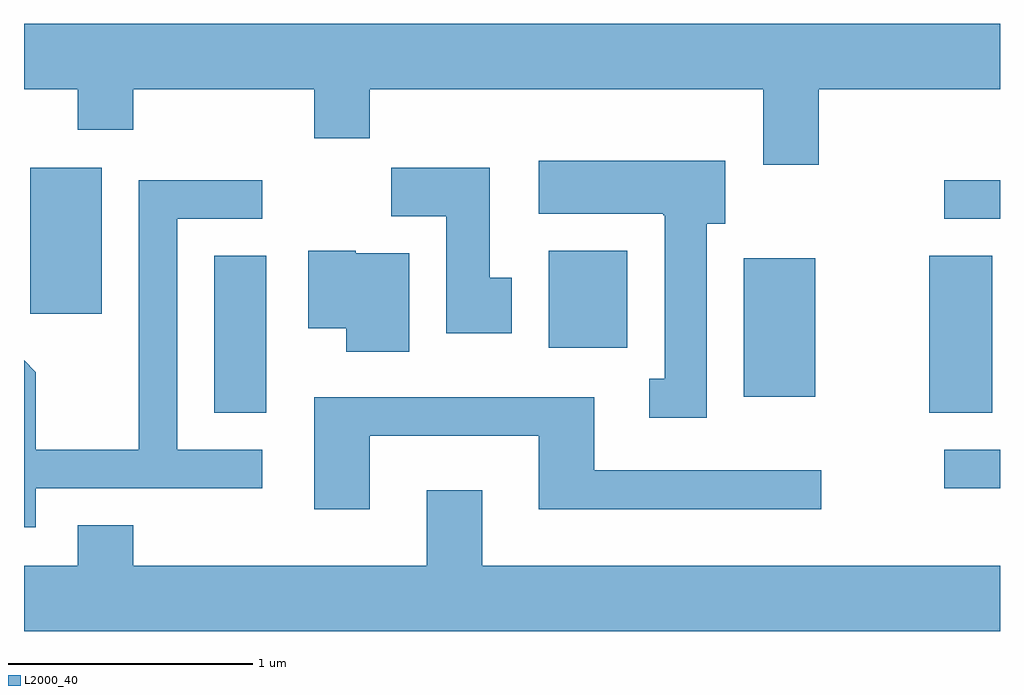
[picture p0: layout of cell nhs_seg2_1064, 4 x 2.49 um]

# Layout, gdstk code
import gdstk
lib = gdstk.Library(unit=1e-6, precision=1e-09)
def R(c, l, rs):  # rectangles x0, y0, x1, y1
    for r in rs: c.add(gdstk.rectangle(r[:2], r[2:], *l))
def P(c, l, *ps):  # polygons
    for p in ps: c.add(gdstk.Polygon(p, *l))
L2000_40 = (2000, 40)

nhs_seg2_1064 = lib.new_cell('nhs_seg2_1064')
R(nhs_seg2_1064, L2000_40, [(219.383,1066.661,219.611,1066.819), (216.391,1066.971,216.604,1067.614), (219.321,1066.971,219.579,1067.614), (218.561,1067.036,218.854,1067.604), (217.761,1067.236,218.084,1067.634), (215.636,1067.376,215.929,1067.974), (219.383,1067.766,219.611,1067.924)])
P(nhs_seg2_1064, L2000_40, [(218.869,1068.296),(219.611,1068.296),(219.611,1068.564),(215.611,1068.564),(215.611,1068.296),(215.831,1068.296),(215.831,1068.131),(216.059,1068.131),(216.059,1068.296),(216.801,1068.296),(216.801,1068.096),(217.029,1068.096),(217.029,1068.296),(218.641,1068.296),(218.641,1067.986),(218.869,1067.986)],
  [(218.409,1067.746),(218.484,1067.746),(218.484,1068.004),(217.721,1068.004),(217.721,1067.786),(218.23,1067.786),(218.23,1067.78),(218.236,1067.78),(218.236,1067.109),(218.173,1067.109),(218.173,1066.951),(218.409,1066.951)],
  [(217.609,1067.524),(217.519,1067.524),(217.519,1067.974),(217.116,1067.974),(217.116,1067.776),(217.341,1067.776),(217.341,1067.296),(217.609,1067.296)],
  [(215.659,1066.661),(216.588,1066.661),(216.588,1066.819),(216.239,1066.819),(216.239,1067.766),(216.588,1067.766),(216.588,1067.924),(216.081,1067.924),(216.081,1066.819),(215.659,1066.819),(215.659,1067.137),(215.611,1067.185),(215.611,1066.501),(215.659,1066.501)],
  [(217.189,1067.624),(216.97,1067.624),(216.97,1067.634),(216.776,1067.634),(216.776,1067.316),(216.931,1067.316),(216.931,1067.221),(217.189,1067.221)],
  [(217.029,1066.876),(217.721,1066.876),(217.721,1066.576),(218.878,1066.576),(218.878,1066.734),(217.949,1066.734),(217.949,1067.034),(216.801,1067.034),(216.801,1066.576),(217.029,1066.576)],
  [(219.611,1066.344),(217.489,1066.344),(217.489,1066.654),(217.261,1066.654),(217.261,1066.344),(216.059,1066.344),(216.059,1066.509),(215.831,1066.509),(215.831,1066.344),(215.611,1066.344),(215.611,1066.076),(219.611,1066.076)])

lib.write_gds('nhs_seg2_1064.gds')
